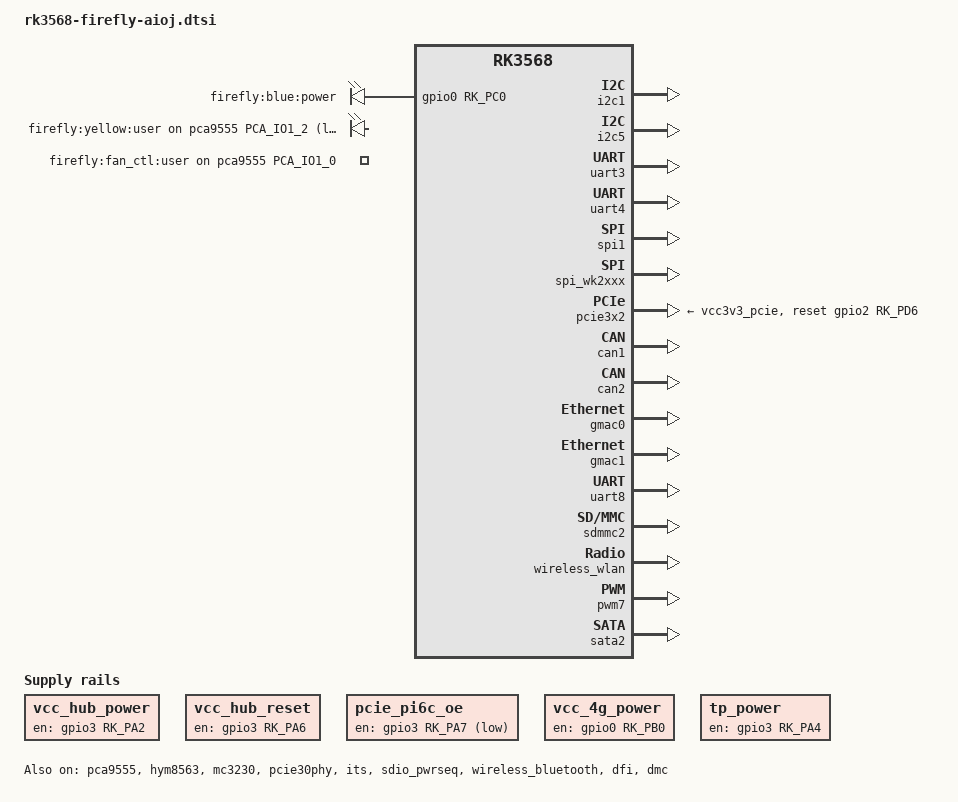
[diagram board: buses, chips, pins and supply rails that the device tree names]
// SPDX-License-Identifier: (GPL-2.0+ OR MIT)
/*
 * Copyright (c) 2020 Rockchip Electronics Co., Ltd.
 *
 */

#include "rk3568-firefly-port.dtsi"


/ {

	vcc_hub_power: vcc-hub-power-regulator {
		compatible = "regulator-fixed";
		enable-active-high;
		gpio = <&gpio3 RK_PA2 GPIO_ACTIVE_HIGH>;
		pinctrl-names = "default";
		pinctrl-0 = <&vcc_hub_power_en>;
		regulator-name = "vcc_hub_power_en";
		regulator-always-on;
	};

	vcc_hub_reset: vcc-hub-reset-regulator {
		compatible = "regulator-fixed";
		enable-active-high;
		gpio = <&gpio3 RK_PA6 GPIO_ACTIVE_HIGH>;
		pinctrl-names = "default";
		pinctrl-0 = <&vcc_hub_reset_en>;
		regulator-name = "vcc_hub_reset_en";
		regulator-always-on;
	};

    pcie_pi6c_oe: pcie-pi6c-oe-regulator {
		compatible = "regulator-fixed";
		//enable-active-high;
		gpio = <&gpio3 RK_PA7 GPIO_ACTIVE_LOW>;
		pinctrl-names = "default";
		pinctrl-0 = <&pcie_pi6c_oe_en>;
		regulator-name = "pcie_pi6c_oe_en";
		regulator-always-on;
	};

    vcc_4g_power: vcc-4g-power-regulator {
        compatible = "regulator-fixed";
        enable-active-high;
        gpio = <&gpio0 RK_PB0 GPIO_ACTIVE_HIGH>;
        pinctrl-names = "default";
        pinctrl-0 = <&vcc_4g_power_en>;
        regulator-name = "vcc_4g_power_en";
        regulator-always-on;
    };

	firefly_leds: leds {
		status = "okay";
		compatible = "gpio-leds";
		pinctrl-names = "default";
		pinctrl-0 =<&leds_gpio>;

		power_led: power {
			label = "firefly:blue:power";
			linux,default-trigger = "ir-power-click";
			default-state = "on";
			gpios = <&gpio0 RK_PC0 GPIO_ACTIVE_HIGH>;
		};

		user_led: user {
			label = "firefly:yellow:user";
			linux,default-trigger = "ir-user-click";
			default-state = "off";
			gpios = <&pca9555 PCA_IO1_2 GPIO_ACTIVE_LOW>;
		};

		fan_ctl: fan-ctl {
			label = "firefly:fan_ctl:user";
			//linux,default-trigger = "ir-user-click";
			linux,default-trigger = "ir-power-click";
			default-state = "on";
			gpios = <&pca9555 PCA_IO1_0 GPIO_ACTIVE_HIGH>;
		};

    };

	tp_power: tp-power-regulator {
	    	compatible = "regulator-fixed";
	    	enable-active-high;
	    	gpio = <&gpio3 RK_PA4 GPIO_ACTIVE_HIGH>;
	    	pinctrl-names = "default";
	    	pinctrl-0 = <&tp_power_en>;
	    	regulator-name = "tp_power_en";
	    	regulator-always-on;
	};

};

&pca9555 {
    status = "okay";
};

&i2c1 {
    status = "okay";

	XC6130b: XC6130b@23{
        status = "disabled";
        compatible = "firefly,xc7022";
        reg = <0x23>;
		clocks = <&cru CLK_CIF_OUT>;
		clock-names = "xvclk";
		pinctrl-names = "rockchip,camera_default";
		pinctrl-0 = <&refclk_pins>;

		power-gpios = <&pca9555 PCA_IO0_3 GPIO_ACTIVE_HIGH>;
		reset-gpios = <&pca9555 PCA_IO0_5 GPIO_ACTIVE_HIGH>;
		pwdn-gpios = <&pca9555 PCA_IO0_4 GPIO_ACTIVE_HIGH>;

		firefly,clkout-enabled-index = <1>;
		rockchip,camera-module-index = <1>;
		rockchip,camera-module-facing = "front";
		rockchip,camera-module-name = "NC";
		rockchip,camera-module-lens-name = "NC";
        port {
                xc6130b_out: endpoint {
                        remote-endpoint = <&dphy2_in>;						
                        data-lanes = <1 2>;
                };
        };
    };

    gslx680: gslx680@41 {
        status = "disabled";
        compatible = "gslX680";
        reg = <0x41>;
        screen_max_x = <800>;
        screen_max_y = <1280>;
        touch-gpio = <&gpio3 RK_PA3 IRQ_TYPE_LEVEL_LOW>;
        reset-gpio = <&gpio3 RK_PA5 GPIO_ACTIVE_HIGH>;
        flip-x = <1>;
        flip-y = <0>;
        swap-xy = <0>;
        gsl,fw = <1>;
    };
/delete-node/ xc6130@23;
};

&vcc_camera {
	status = "disabled";
};

&pwm11 {
	status = "disabled";
};




&i2c5 {
    status = "okay";
};

&hym8563 {
    status = "okay";
};

&mc3230 {
    status = "okay";
};

&uart3 {
	status = "okay";
};

&uart4 {
        status = "okay";
};

&spi1 {
	status = "okay";
};

&spi_wk2xxx {
	status = "okay";
};

&pcie30phy {
       status = "okay";
};

&pcie3x2 {
        reset-gpios = <&gpio2 RK_PD6 GPIO_ACTIVE_HIGH>;
        vpcie3v3-supply = <&vcc3v3_pcie>;

       status = "okay";
};

&its {
    status = "okay";
};

&can1 {
    status = "okay";
};

&can2 {
    status = "okay";
};

&gmac0 {
    status = "okay";
    tx_delay = <0x39>;
    rx_delay = <0x2c>;
};

&gmac1 {
    status = "okay";
    tx_delay = <0x49>;
    rx_delay = <0x28>;
};

&uart8 {
	status = "okay";
};

&sdio_pwrseq {
	status = "okay";
	reset-gpios = <&gpio3 RK_PD5 GPIO_ACTIVE_LOW>;
	post-power-on-delay-ms = <100>;
};

&sdmmc2 {
	status = "okay";
};

&wireless_wlan {
	wifi_chip_type = "ap6275s";
	status = "okay";
};

&wireless_bluetooth {
	BT,wake_gpio     = <&gpio3 RK_PB5 GPIO_ACTIVE_HIGH>;
	BT,wake_host_irq = <&gpio2 RK_PD7 GPIO_ACTIVE_HIGH>;
	status = "okay";
};

&spdif_8ch{
    status = "disabled";
};

&rk809_codec {
    hp-ctl-gpios = <&gpio1 RK_PB0 GPIO_ACTIVE_HIGH>;
    hp-det-adc-value = <200>;
    hp-adc-drift-scope = <200>;
};

&rk809 {
	rtc {
		status = "disabled";
	};
};

&pwm7 {
	status = "okay";
};

&sata2 {
	status = "okay";
};

&dfi {
	status = "okay";
};

&dmc {
	status = "okay";
};

&pinctrl {
	usb {
		vcc_hub_power_en: vcc-hub-power-en {
			rockchip,pins = <3 RK_PA2 RK_FUNC_GPIO &pcfg_pull_none>;
		};

		vcc_hub_reset_en: vcc-hub-reset-en {
			rockchip,pins = <3 RK_PA6 RK_FUNC_GPIO &pcfg_pull_none>;
		};
	};

	pcie {
		pcie_pi6c_oe_en: pcie-pi6c-oe-en {
			rockchip,pins = <3 RK_PA7 RK_FUNC_GPIO &pcfg_pull_none>;
		};
	};

	4g {
		vcc_4g_power_en: vcc-4g-power-en {
	        rockchip,pins = <0 RK_PB0 RK_FUNC_GPIO &pcfg_pull_none>;
		};
	};

    leds {
        leds_gpio: leds-gpio {
            rockchip,pins =
            /* led_power */
            <0 RK_PC0 RK_FUNC_GPIO &pcfg_pull_none>;
        };
    };

	touchscreen {
		tp_power_en: tp-power-en {
			rockchip,pins = <3 RK_PA4 RK_FUNC_GPIO &pcfg_pull_none>;
		};
	};
};
